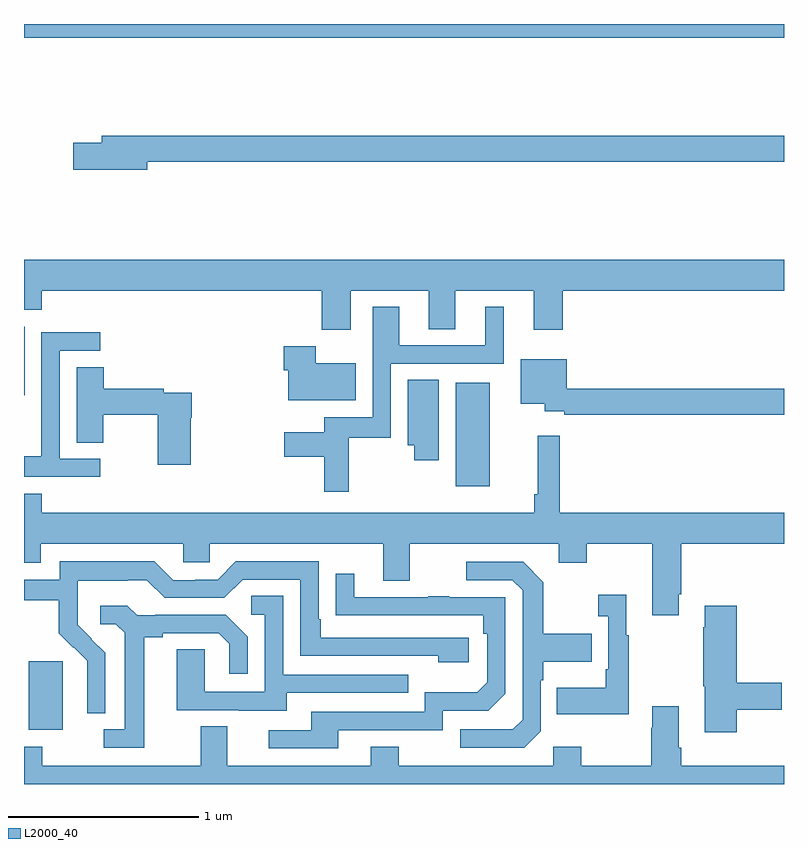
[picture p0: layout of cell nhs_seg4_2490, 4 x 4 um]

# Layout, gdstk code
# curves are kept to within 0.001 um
import gdstk
lib = gdstk.Library(unit=1e-6, precision=1e-09)
def R(c, l, rs):  # rectangles x0, y0, x1, y1
    for r in rs: c.add(gdstk.rectangle(r[:2], r[2:], *l))
def P(c, l, *ps):  # polygons
    for p in ps: c.add(gdstk.Polygon(p, *l))
L2000_40 = (2000, 40)

nhs_seg4_2490 = lib.new_cell('nhs_seg4_2490')
R(nhs_seg4_2490, L2000_40, [(241.025,785.186,241.204,785.547), (243.272,786.467,243.451,787.012), (241,786.945,241.003,787.306), (241,788.828,245,788.9)])
P(nhs_seg4_2490, L2000_40, [(241.648,788.176),(245,788.176),(245,788.312),(241.409,788.312),(241.409,788.276),(241.26,788.276),(241.26,788.134),(241.648,788.134)],
  [(242.719,787.496),(243.131,787.496),(243.131,787.294),(243.271,787.294),(243.271,787.496),(243.683,787.496),(243.683,787.29),(243.836,787.29),(243.836,787.496),(245,787.496),(245,787.66),(241,787.66),(241,787.397),(241.094,787.397),(241.094,787.496),(242.567,787.496),(242.567,787.29),(242.719,787.29)],
  [(242.71,786.723),(242.931,786.723),(242.931,787.113),(243.526,787.113),(243.526,787.411),(243.428,787.411),(243.428,787.209),(242.974,787.209),(242.974,787.411),(242.835,787.411),(242.835,786.831),(242.581,786.831),(242.581,786.751),(242.37,786.751),(242.37,786.622),(242.581,786.622),(242.581,786.438),(242.71,786.438)],
  [(241.402,786.612),(241.188,786.612),(241.188,787.179),(241.402,787.179),(241.402,787.278),(241.092,787.278),(241.092,786.848),(241.09,786.848),(241.09,786.625),(241,786.625),(241,786.516),(241.402,786.516)],
  [(242.746,787.114),(242.536,787.114),(242.536,787.203),(242.366,787.203),(242.366,787.077),(242.39,787.077),(242.39,786.92),(242.746,786.92)],
  [(245,786.98),(243.856,786.98),(243.856,787.135),(243.614,787.135),(243.614,786.902),(243.74,786.902),(243.74,786.863),(243.844,786.863),(243.844,786.844),(245,786.844)],
  [(241.878,786.827),(241.883,786.827),(241.883,786.96),(241.736,786.96),(241.736,786.98),(241.421,786.98),(241.421,787.094),(241.277,787.094),(241.277,786.697),(241.416,786.697),(241.416,786.844),(241.705,786.844),(241.705,786.579),(241.878,786.579)],
  [(243.184,787.028),(243.02,787.028),(243.02,786.683),(243.055,786.683),(243.055,786.603),(243.184,786.603)],
  [(244.447,785.899),(244.46,785.899),(244.46,786.164),(245,786.164),(245,786.328),(243.821,786.328),(243.821,786.733),(243.703,786.733),(243.703,786.424),(243.685,786.424),(243.685,786.328),(241.094,786.328),(241.094,786.427),(241,786.427),(241,786.065),(241.087,786.065),(241.087,786.164),(241.839,786.164),(241.839,786.066),(241.977,786.066),(241.977,786.164),(242.891,786.164),(242.891,785.97),(243.031,785.97),(243.031,786.164),(243.815,786.164),(243.815,786.065),(243.963,786.065),(243.963,786.164),(244.307,786.164),(244.307,785.787),(244.447,785.787)],
  [(241.428,785.59),(241.282,785.738),(241.282,785.835),(241.284,785.835),(241.284,785.969),(241.547,785.969),(241.547,785.973),(241.647,785.973),(241.74,785.88),(242.055,785.88),(242.151,785.976),(242.454,785.976),(242.454,785.574),(243.179,785.574),(243.179,785.54),(243.34,785.54),(243.34,785.67),(242.563,785.67),(242.563,785.767),(242.55,785.767),(242.55,786.072),(242.115,786.072),(242.019,785.976),(241.901,785.976),(241.901,785.973),(241.785,785.973),(241.685,786.073),(241.188,786.073),(241.188,785.976),(241,785.976),(241,785.868),(241.183,785.868),(241.183,785.693),(241.26,785.616),(241.263,785.619),(241.334,785.549),(241.334,785.426),(241.332,785.426),(241.332,785.272),(241.428,785.272)],
  [(243.72,785.178),(243.72,785.447),(243.733,785.447),(243.733,785.543),(243.989,785.543),(243.989,785.691),(243.733,785.691),(243.733,785.963),(243.627,786.069),(243.327,786.069),(243.327,785.973),(243.57,785.973),(243.624,785.919),(243.624,785.238),(243.573,785.187),(243.297,785.187),(243.297,785.091),(243.633,785.091)],
  [(242.653,785.184),(243.204,785.184),(243.204,785.286),(243.444,785.286),(243.534,785.376),(243.534,785.883),(243.239,785.883),(243.239,785.888),(243.127,785.888),(243.127,785.883),(242.737,785.883),(242.737,786.007),(242.641,786.007),(242.641,785.788),(243.418,785.787),(243.418,785.69),(243.438,785.69),(243.438,785.436),(243.385,785.383),(243.108,785.383),(243.108,785.28),(242.513,785.28),(242.513,785.184),(242.289,785.184),(242.289,785.088),(242.653,785.088)],
  [(244.183,785.683),(244.171,785.683),(244.171,785.896),(244.023,785.896),(244.023,785.783),(244.074,785.783),(244.074,785.503),(244.062,785.503),(244.062,785.407),(243.805,785.407),(243.805,785.267),(244.183,785.267)],
  [(242.383,785.379),(243.023,785.379),(243.023,785.475),(242.364,785.475),(242.364,785.891),(242.196,785.891),(242.196,785.79),(242.268,785.79),(242.268,785.385),(241.95,785.385),(241.95,785.609),(241.805,785.609),(241.805,785.289),(242.129,785.289),(242.129,785.285),(242.383,785.285)],
  [(241.633,785.672),(241.729,785.672),(241.729,785.694),(242.024,785.694),(242.081,785.637),(242.081,785.481),(242.178,785.481),(242.178,785.674),(242.062,785.79),(241.69,785.79),(241.69,785.787),(241.596,785.787),(241.544,785.839),(241.401,785.839),(241.401,785.742),(241.482,785.742),(241.529,785.695),(241.529,785.187),(241.419,785.187),(241.419,785.091),(241.633,785.091)],
  [(244.751,785.29),(244.987,785.29),(244.987,785.432),(244.751,785.432),(244.751,785.839),(244.583,785.839),(244.583,785.726),(244.576,785.726),(244.576,785.415),(244.583,785.415),(244.583,785.172),(244.751,785.172)],
  [(244.447,785.092),(244.447,785.308),(244.307,785.308),(244.307,785.195),(244.3,785.195),(244.3,784.996),(243.933,784.996),(243.933,785.095),(243.786,785.095),(243.786,784.996),(242.973,784.996),(242.973,785.095),(242.825,785.095),(242.825,784.996),(242.071,784.996),(242.071,785.204),(241.931,785.204),(241.931,784.996),(241.095,784.996),(241.095,785.095),(241,785.095),(241,784.9),(245,784.9),(245,784.996),(244.46,784.996),(244.46,785.092)])

lib.write_gds('nhs_seg4_2490.gds')
